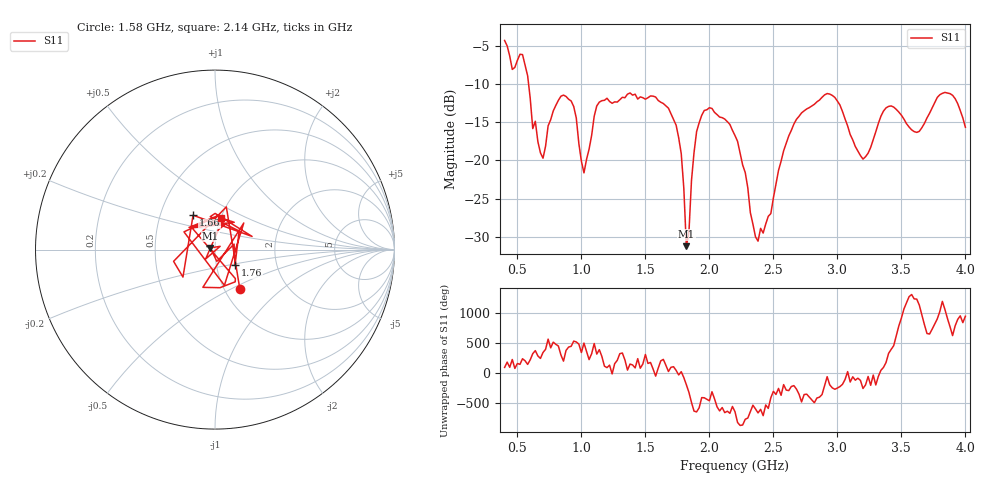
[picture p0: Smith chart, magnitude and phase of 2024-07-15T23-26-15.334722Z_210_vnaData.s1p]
!Created with skrf (http://scikit-rf.org).
# Hz S RI R 50.0
!freq ReS11 ImS11
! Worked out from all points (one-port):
!   181 points, 400 MHz to 4 GHz, reference 50 ohm
!   lowest |S11| = -31.2 dB at 1.82 GHz (marker M1), VSWR 1.06, Z = 47.5 + j0.932 ohm
!   |S11| at or under -10 dB: 587.2 MHz to end of sweep
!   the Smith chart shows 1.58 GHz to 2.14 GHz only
!   S11 on the Smith chart (normalised r, x): 1.58 GHz: 1.18, -0.55; 1.66 GHz: 0.73, +0.30; 1.76 GHz: 1.23, -0.21; 2.14 GHz: 1.01, +0.37
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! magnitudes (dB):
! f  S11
! 400 MHz  -4.3
! 460 MHz  -8.1
! 540 MHz  -6.2
! 620 MHz  -15.8
! 700 MHz  -19.7
! 860 MHz  -11.5
! 940 MHz  -13.0
! 1.02 GHz  -21.6
! 1.12 GHz  -12.9
! 1.3 GHz  -12.1
! 1.58 GHz  -11.7
! 1.66 GHz  -12.9
! 1.76 GHz  -17.0
! 1.8 GHz  -23.6
! 1.82 GHz  -31.2
! 1.88 GHz  -19.0
! 1.92 GHz  -15.1
! 2.14 GHz  -14.9
! 2.2 GHz  -16.8
! 2.38 GHz  -30.5
! 2.66 GHz  -15.3
! 2.92 GHz  -11.3
! 3.1 GHz  -16.6
! 3.2 GHz  -19.8
! 3.38 GHz  -13.1
! 3.56 GHz  -15.6
! 3.84 GHz  -11.1
! 4 GHz  -15.7
